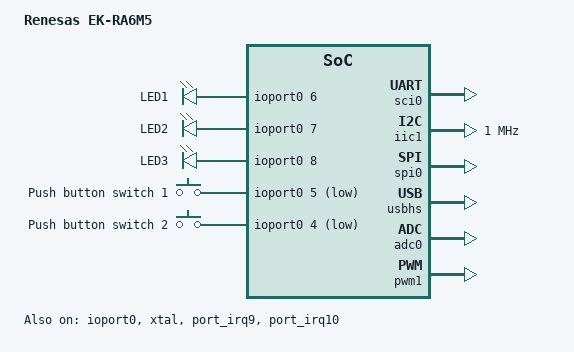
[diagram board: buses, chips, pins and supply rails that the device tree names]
/*
 * Copyright (c) 2024 Renesas Electronics Corporation
 * SPDX-License-Identifier: Apache-2.0
 */

/dts-v1/;

#include <renesas/ra/ra6/r7fa6m5bh3cfc.dtsi>
#include <dt-bindings/gpio/gpio.h>
#include <dt-bindings/input/input-event-codes.h>
#include <zephyr/dt-bindings/adc/adc.h>

#include "ek_ra6m5-pinctrl.dtsi"

/ {
	model = "Renesas EK-RA6M5";
	compatible = "renesas,ra6m5", "renesas,ra";

	chosen {
		zephyr,sram = &sram0;
		zephyr,flash = &flash0;
		zephyr,console = &uart0;
		zephyr,shell-uart = &uart0;
	};

	leds {
		compatible = "gpio-leds";
		led1: led1 {
			gpios = <&ioport0 6 GPIO_ACTIVE_HIGH>;
			label = "LED1";
		};
		led2: led2 {
			gpios = <&ioport0 7 GPIO_ACTIVE_HIGH>;
			label = "LED2";
		};
		led3: led3 {
			gpios = <&ioport0 8 GPIO_ACTIVE_HIGH>;
			label = "LED3";
		};
	};

	buttons {
		compatible = "gpio-keys";
		button0: s1 {
			gpios = <&ioport0 5 (GPIO_PULL_UP | GPIO_ACTIVE_LOW)>;
			label = "Push button switch 1";
			zephyr,code = <INPUT_KEY_0>;
		};
		button1: s2 {
			gpios = <&ioport0 4 (GPIO_PULL_UP | GPIO_ACTIVE_LOW)>;
			label = "Push button switch 2";
			zephyr,code = <INPUT_KEY_1>;
		};
	};

	aliases {
		led0 = &led1;
		sw0 = &button0;
		sw1 = &button1;
	};
};

&sci0 {
	pinctrl-0 = <&sci0_default>;
	pinctrl-names = "default";
	status = "okay";
	uart0: uart {
		current-speed = <115200>;
		status = "okay";
	};
};

&iic1 {
	status = "okay";
	#address-cells = <1>;
	#size-cells = <0>;
	interrupts = <91 1>, <92 1>, <93 1>, <94 1>;
	interrupt-names = "rxi", "txi", "tei", "eri";
	clock-frequency = <DT_FREQ_M(1)>;
	pinctrl-0 = <&iic1_default>;
	pinctrl-names = "default";
};

&spi0 {
	pinctrl-0 = <&spi0_default>;
	pinctrl-names = "default";
	status = "okay";
};

&ioport0 {
	status = "okay";
};

&xtal {
	clock-frequency = <DT_FREQ_M(24)>;
	mosel = <0>;
	#clock-cells = <0>;
	status = "okay";
};

&subclk {
	status = "okay";
};

&pll {
	clocks = <&xtal>;
	div = <3>;
	mul = <25 0>;
	status = "okay";
};

&usbhs {
	pinctrl-0 = <&usbhs_default>;
	pinctrl-names = "default";
	maximum-speed = "high-speed";
	status = "okay";
	zephyr_udc0: udc {
		status = "okay";
	};
};

&usbhs_phy {
	phys-clock-src = "xtal";
};

&adc0 {
	status = "okay";
	pinctrl-0 = <&adc0_default>;
	pinctrl-names = "default";
};

&port_irq9 {
	interrupts = <41 12>;
	status = "okay";
};

&port_irq10 {
	interrupts = <42 12>;
	status = "okay";
};

&pwm1 {
	pinctrl-0 = <&pwm1_default>;
	pinctrl-names = "default";
	interrupts = <63 1>, <64 1>;
	interrupt-names = "gtioca", "overflow";
	status = "okay";
};
